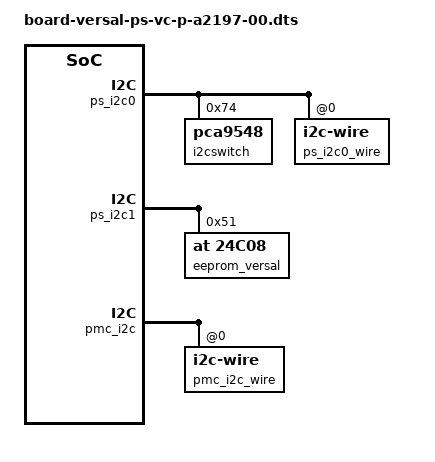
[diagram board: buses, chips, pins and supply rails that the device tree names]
/*
 * Versal vc-p-a2197 PS board device tree
 *
 * Copyright (c) 2019, Xilinx Inc
 * All rights reserved.
 *
 * Redistribution and use in source and binary forms, with or without
 * modification, are permitted provided that the following conditions are met:
 *     * Redistributions of source code must retain the above copyright
 *       notice, this list of conditions and the following disclaimer.
 *     * Redistributions in binary form must reproduce the above copyright
 *       notice, this list of conditions and the following disclaimer in the
 *       documentation and/or other materials provided with the distribution.
 *     * Neither the name of the <organization> nor the
 *       names of its contributors may be used to endorse or promote products
 *       derived from this software without specific prior written permission.
 *
 * THIS SOFTWARE IS PROVIDED BY THE COPYRIGHT HOLDERS AND CONTRIBUTORS "AS IS" AND
 * ANY EXPRESS OR IMPLIED WARRANTIES, INCLUDING, BUT NOT LIMITED TO, THE IMPLIED
 * WARRANTIES OF MERCHANTABILITY AND FITNESS FOR A PARTICULAR PURPOSE ARE
 * DISCLAIMED. IN NO EVENT SHALL <COPYRIGHT HOLDER> BE LIABLE FOR ANY
 * DIRECT, INDIRECT, INCIDENTAL, SPECIAL, EXEMPLARY, OR CONSEQUENTIAL DAMAGES
 * (INCLUDING, BUT NOT LIMITED TO, PROCUREMENT OF SUBSTITUTE GOODS OR SERVICES;
 * LOSS OF USE, DATA, OR PROFITS; OR BUSINESS INTERRUPTION) HOWEVER CAUSED AND
 * ON ANY THEORY OF LIABILITY, WHETHER IN CONTRACT, STRICT LIABILITY, OR TORT
 * (INCLUDING NEGLIGENCE OR OTHERWISE) ARISING IN ANY WAY OUT OF THE USE OF THIS
 * SOFTWARE, EVEN IF ADVISED OF THE POSSIBILITY OF SUCH DAMAGE.
 */

#include "board-versal-ps-virt.dts"
#include "versal-silicon-freq.dtsi"

#define I2C_DUMMY(name, addr)			\
	name@addr {				\
		compatible = "i2c-dev-dummy";	\
		reg = <addr>;			\
	}

&ps_i2c0 {
	i2cswitch@74 {
		#address-cells = <1>;
		#size-cells = <0>;
		reg = <0x74>;
		compatible = "pca9548";
		i2c@0 {
			#address-cells = <1>;
			#size-cells = <0>;
			reg = <0>;
			/* PMBUS1 */
			I2C_DUMMY(tps53671rsbt, 0x42);
			I2C_DUMMY(tps53671rsbt, 0x43);
			I2C_DUMMY(tps53671rsbt, 0x44);
			I2C_DUMMY(tps53671rsbt, 0x45);
		};
		i2c@1 {
			#address-cells = <1>;
			#size-cells = <0>;
			reg = <1>;
			/* PMBUS1_INA226 */
			I2C_DUMMY(ina226, 0xc0);
			I2C_DUMMY(ina226, 0x07);
			I2C_DUMMY(ina226, 0x08);
			I2C_DUMMY(ina226, 0x09);
			I2C_DUMMY(ina226, 0x0a);
		};
		i2c@2 {
			#address-cells = <1>;
			#size-cells = <0>;
			reg = <2>;
			/* PMBUS2 */
			I2C_DUMMY(tps53671rsbt, 0x0D);
			I2C_DUMMY(tps53671rsbt, 0x0E);
			I2C_DUMMY(tps53671rsbt, 0x0F);
			I2C_DUMMY(tps53671rsbt, 0x10);
			I2C_DUMMY(tps53671rsbt, 0x11);
			I2C_DUMMY(tps53671rsbt, 0x12);
			I2C_DUMMY(tps53671rsbt, 0x13);
			I2C_DUMMY(tps53671rsbt, 0x14);
			I2C_DUMMY(tps53671rsbt, 0x15);
			I2C_DUMMY(tps53671rsbt, 0x16);
			I2C_DUMMY(tps53671rsbt, 0x17);
			I2C_DUMMY(tps53671rsbt, 0x19);
			I2C_DUMMY(tps53671rsbt, 0x1a);
			I2C_DUMMY(tps53671rsbt, 0x1b);
			I2C_DUMMY(tps53671rsbt, 0x1c);
			I2C_DUMMY(tps53671rsbt, 0x1d);
			I2C_DUMMY(tps53671rsbt, 0x1e);
			I2C_DUMMY(tps53671rsbt, 0x1f);
		};
		i2c@3 {
			#address-cells = <1>;
			#size-cells = <0>;
			reg = <3>;
			/* PMBUS2_INA226 */
			I2C_DUMMY(ina226, 0x40);
			I2C_DUMMY(ina226, 0x41);
			I2C_DUMMY(ina226, 0x42);
			I2C_DUMMY(ina226, 0x43);
			I2C_DUMMY(ina226, 0x44);
			I2C_DUMMY(ina226, 0x45);
			I2C_DUMMY(ina226, 0x46);
			I2C_DUMMY(ina226, 0x47);
			I2C_DUMMY(ina226, 0x48);
			I2C_DUMMY(ina226, 0x49);
			I2C_DUMMY(ina226, 0x4a);
			I2C_DUMMY(ina226, 0x4b);
			I2C_DUMMY(ina226, 0x4c);
			I2C_DUMMY(ina226, 0x4d);
			I2C_DUMMY(ina226, 0x4e);
		};
		i2c@4 {
			#address-cells = <1>;
			#size-cells = <0>;
			reg = <4>;
			/* External SYSMON I2C */
		};
	};
	ps_i2c0_wire: ps_i2c0_wire@0 {
		compatible = "i2c-wire";
		i2cWire-peer= <&pmc_i2c_wire>;
	};
};
&ps_i2c1 {
	eeprom_versal: eeprom@51 { /* U116 */
		compatible = "at,24c08";
		reg = <0x51>;
		size = <0x4000>;
	};
};
&pmc_i2c {
	pmc_i2c_wire: pmc_i2c_wire@0 {
		compatible = "i2c-wire";
		i2cWire-peer = <&ps_i2c0_wire>;
	};
};
